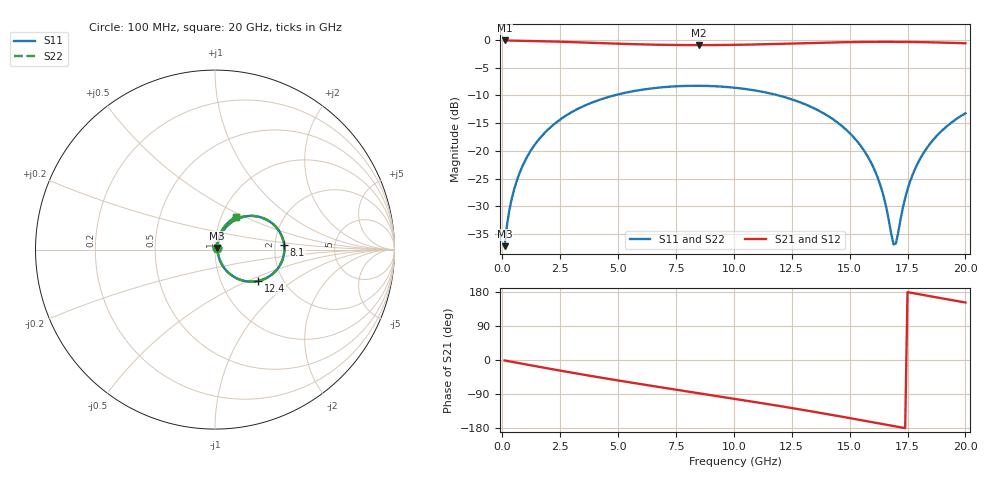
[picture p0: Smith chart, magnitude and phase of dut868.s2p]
! Touchstone file exported from HFSS 2026.1.0
!  File:  C:/ffzhzh/LocalFiles/Ansys_Project_Files/temp_train_TSV_RDL_868_1783271831_38820.aedt
!  Generated:  01:25:44 AM Jul  6, 2026
!  Design:  TSV_RDL
!  Project:  temp_train_TSV_RDL_868_1783271831_38820
! Variables:
!  h_bsmrdl = 4.45um
!  h_ox = 20um
!  h_rdl = 5um
!  h_sub = 76.47um
!  h_tmrdl = 4.06um
!  h_tsv = 76.47um
!  h_via = 3um
!  l_bsmrdl = 819.18um
!  l_sub = 3463.24um
!  l_tmrdl = 114.87um
!  m_sub = 200um
!  pitch = 49.3um
!  r_tsv = 12.21um
!  s_tmrdl = 10um
!  w_bsmrdl = 28.9um
!  w_sub = 500um
!  w_tmrdl = 19.84um
!  x_tsv_center1 = 124.79um
!  x_tsv_center2 = 972.87um
!  x_tsv_center3 = 1107.58um
!  x_tsv_center4 = 1955.66um
!  x_tsv_center5 = 2090.37um
!  x_tsv_center6 = 2938.45um
# GHz S MA R 50.000000
! Terminal data exported
! Port[1] = TM_RDL1_1_T1
! Port[2] = TM_RDL5_1_T1
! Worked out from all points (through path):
!   200 points, 100 MHz to 20 GHz, reference 50 ohm
!   highest |S21| = -0.09 dB at 100 MHz (marker M1); lowest = -0.9 dB at 8.5 GHz (marker M2)
!   group delay of S21, straight-line fit = 28.3 ps
!   lowest |S11| = -37.2 dB at 100 MHz (marker M3), VSWR 1.03, Z = 51 + j0.933 ohm
!   |S11| at or under -10 dB: start of sweep to 4.825 GHz; 11.93 GHz to end of sweep
!   |S22| runs from -37.2 to -8.3 dB; largest |S21 - S12| = 2e-14
!   S11 on the Smith chart (normalised r, x): 100 MHz: 1.02, +0.02; 8.1 GHz: 2.25, +0.13; 12.4 GHz: 1.50, -0.57; 20 GHz: 1.18, +0.45
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0.1  0.01386 41.3  0.9897 -1.2  0.9897 -1.2  0.01386 41.3
! Gamma 0 0 0 0
! Port Impedance 50 0 50 0
0.3  0.02887 62.3  0.9878 -3.5  0.9878 -3.5  0.02887 62.3
0.5  0.04418 67.4  0.9863 -5.8  0.9863 -5.8  0.04418 67.4
1.1  0.09056 68.6  0.9818 -12.6  0.9818 -12.6  0.09056 68.6
2.1  0.1646 60.8  0.9704 -23.7  0.9704 -23.7  0.1646 60.8
3.5  0.2529 47.2  0.9487 -38.7  0.9487 -38.7  0.2529 47.2
6.8  0.3728 15.6  0.9051 -71.5  0.9051 -71.5  0.3728 15.6
8.1  0.3861 3.7  0.8989 -83.9  0.8989 -83.9  0.3861 3.7
8.5  0.3864 0.0  0.8985 -87.7  0.8985 -87.7  0.3864 0.0
10.1  0.37 -14.6  0.904 -102.9  0.904 -102.9  0.37 -14.6
12.4  0.2962 -36.2  0.927 -125.7  0.927 -125.7  0.2963 -36.2
13.4  0.2459 -45.7  0.9393 -136.0  0.9393 -136.0  0.2459 -45.7
14.7  0.1656 -57.7  0.9534 -150.0  0.9534 -150.0  0.1656 -57.7
15.6  0.1024 -64.4  0.9599 -159.8  0.9599 -159.8  0.1024 -64.4
16.3  0.05109 -63.9  0.9623 -167.6  0.9623 -167.6  0.05112 -63.9
16.7  0.02328 -47.2  0.9624 -172.0  0.9624 -172.0  0.02331 -47.2
16.9  0.01437 -9.5  0.9622 -174.3  0.9622 -174.3  0.01439 -9.6
17  0.01467 20.1  0.962 -175.4  0.962 -175.4  0.01468 20.0
17.5  0.04492 69.0  0.9601 179.0  0.9601 179.0  0.0449 69.0
18  0.08165 71.8  0.9569 173.5  0.9569 173.5  0.08162 71.8
18.8  0.1394 67.4  0.9493 164.7  0.9493 164.7  0.1393 67.4
20  0.2184 56.9  0.9336 151.8  0.9336 151.8  0.2183 56.9
